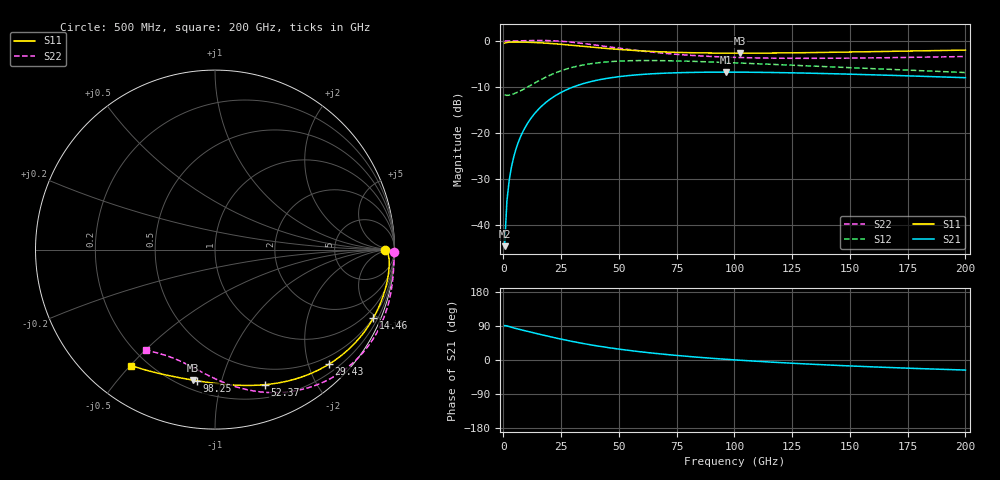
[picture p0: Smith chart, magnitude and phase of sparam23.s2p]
!2-port S-parameter file
!Title: **.subckt s_param_testbench_lna
!Generated by ngspice at Wed Oct 26 01:11:20  2022
# Hz S RI R 50
!freq  ReS11  ImS11  ReS21  ImS21  ReS12  ImS12  ReS22  ImS22
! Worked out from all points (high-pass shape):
!   201 points, 500 MHz to 200 GHz, reference 50 ohm
!   highest |S21| = -6.78 dB at 96.26 GHz (marker M1); lowest = -44.7 dB at 500 MHz (marker M2)
!   |S21| within 3 dB of the highest: 31.5 GHz to end of sweep
!   lowest |S11| = -2.6 dB at 102.2 GHz (marker M3), VSWR 6.62, Z = 12.8 - j40.7 ohm
!   |S11| at or under -10 dB: nowhere
!   |S22| runs from -3.8 to 0.1 dB; largest |S21 - S12| = 0.43
!   S11 on the Smith chart (normalised r, x): 500 MHz: 38, -1; 14.46 GHz: 0.48, -4.81; 29.43 GHz: 0.35, -2.35; 52.37 GHz: 0.33, -1.38; 98.25 GHz: 0.26, -0.84; 200 GHz: 0.14, -0.50
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5e8  0.9493 -0.00186  -8.06e-05 0.0058  -0.2592 0.00724  0.9997 -0.013
1.4975e9  0.9643 -0.0238  2.08e-05 0.018  -0.2551 0.0136  0.9986 -0.0381
2.495e9  0.9704 -0.0546  0.00102 0.0304  -0.2563 0.0188  0.9974 -0.0628
3.4925e9  0.971 -0.0853  0.00276 0.0427  -0.2596 0.0255  0.9962 -0.0875
4.49e9  0.9689 -0.1151  0.00515 0.0548  -0.2639 0.0335  0.9948 -0.1126
6.485e9  0.96 -0.1725  0.0118 0.0786  -0.2742 0.0533  0.9905 -0.1636
8.48e9  0.9464 -0.2277  0.0207 0.1015  -0.2856 0.0785  0.9838 -0.2159
1.4465e10  0.8828 -0.3799  0.0602 0.1619  -0.3073 0.1866  0.9416 -0.3775
2.14475e10  0.7757 -0.5248  0.1231 0.211  -0.2697 0.3457  0.8408 -0.5541
2.94275e10  0.6331 -0.6395  0.2019 0.2356  -0.1368 0.4948  0.6744 -0.701
3.4415e10  0.5443 -0.6859  0.2481 0.2364  -0.0282 0.5473  0.5617 -0.7557
4.2395e10  0.4136 -0.7302  0.3117 0.2215  0.1443 0.5671  0.3937 -0.794
5.237e10  0.2759 -0.7528  0.3711 0.1873  0.3183 0.5176  0.2247 -0.7891
6.73325e10  0.1172 -0.7552  0.4254 0.1255  0.4755 0.3856  0.0531 -0.7421
8.03e10  0.013 -0.7465  0.4487 0.0729  0.5386 0.2699  -0.042 -0.6989
9.626e10  -0.0882 -0.7327  0.4581 0.015  0.5641 0.1502  -0.1218 -0.657
9.8255e10  -0.0994 -0.731  0.4582 0.00837  0.5648 0.1371  -0.13 -0.6527
1.0025e11  -0.1102 -0.7292  0.4582 0.00189  0.5651 0.1245  -0.1379 -0.6486
1.02245e11  -0.1208 -0.7275  0.4579 -0.00444  0.5649 0.1123  -0.1454 -0.6446
1.34165e11  -0.2635 -0.7007  0.4366 -0.0877  0.5318 -0.037  -0.2427 -0.6007
1.670825e11  -0.3759 -0.6738  0.3982 -0.1437  0.4746 -0.1267  -0.3189 -0.5764
2e11  -0.4663 -0.6459  0.3565 -0.178  0.4167 -0.1784  -0.3833 -0.5593
